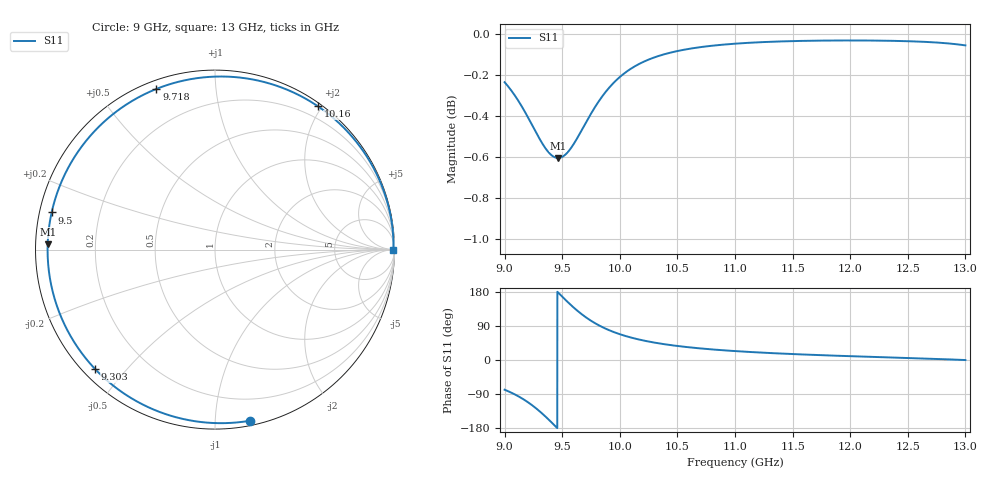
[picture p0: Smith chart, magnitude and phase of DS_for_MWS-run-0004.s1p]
! TOUCHSTONE file generated by CST DESIGN STUDIO
! Date and time: Tue Feb  4 13:27:52 2025
! Project name: C:\Work\MatlabApps\UnitCellOptimizationMatlab\CST\unitcell.cst
! Tree item: Tasks\Sweep1\SPara1\S-Parameters
! Header version: 2024
! Port assignment regex: !\s*Touchstone port\s*([0-9]+)\s*=\s*(CST MWS port|CST DES external port|CST DES block port)\s*(.+)\s* \(\"(.*)\"\)(\s*mode\s*([0-9]+))?.*
! Touchstone port assignment:
! Touchstone port 1 = CST DES external port 1 ("")
# GHz S MA R 50
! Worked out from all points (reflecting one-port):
!   4001 points, 9 GHz to 13 GHz, reference 50 ohm
!   lowest |S11| = -0.6 dB at 9.464 GHz (marker M1), VSWR 28.77, Z = 1.74 + j0.806 ohm
!   phase of S11 starts at -78 deg and turns -282 deg over the sweep
!   S11 on the Smith chart (normalised r, x): 9 GHz: 0.03, -1.22; 9.303 GHz: 0.03, -0.41; 9.5 GHz: 0.03, +0.11; 9.718 GHz: 0.04, +0.70; 10.16 GHz: 0.04, +1.95; 13 GHz: open
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9  0.9732 -78.4
9.075  0.9673 -88.7
9.172  0.9577 -105.3
9.24  0.95 -119.7
9.303  0.9429 -135.1
9.345  0.9387 -146.5
9.39  0.9352 -159.4
9.428  0.9334 -170.8
9.464  0.9328 178.2
9.5  0.9334 167.2
9.551  0.936 152.0
9.611  0.9413 135.4
9.663  0.9468 122.3
9.718  0.9528 110.0
9.773  0.9586 99.3
9.835  0.9645 88.9
9.916  0.9708 77.6
10  0.9761 68.1
10.078  0.9798 60.8
10.163  0.9831 54.3
10.316  0.9872 45.1
10.5  0.9904 37.0
10.722  0.9927 29.9
11  0.9944 23.5
11.5  0.9959 15.7
12  0.9962 10.1
12.5  0.9958 5.3
13  0.9935 -0.1
